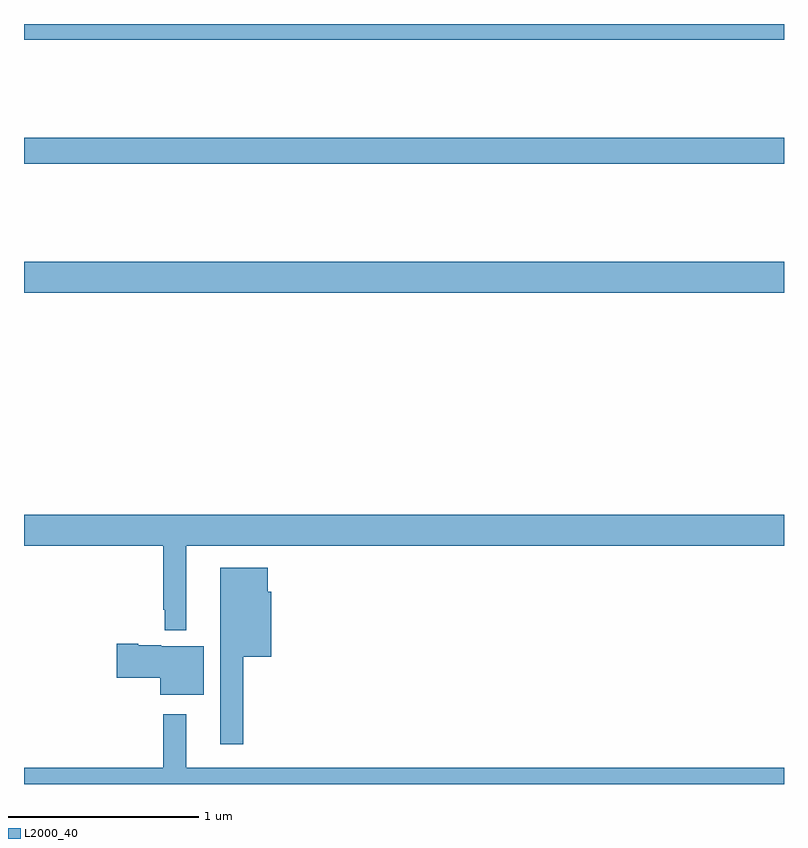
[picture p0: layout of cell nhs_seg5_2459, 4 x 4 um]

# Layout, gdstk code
import gdstk
lib = gdstk.Library(unit=1e-6, precision=1e-09)
def R(c, l, rs):  # rectangles x0, y0, x1, y1
    for r in rs: c.add(gdstk.rectangle(r[:2], r[2:], *l))
def P(c, l, *ps):  # polygons
    for p in ps: c.add(gdstk.Polygon(p, *l))
L2000_40 = (2000, 40)

nhs_seg5_2459 = lib.new_cell('nhs_seg5_2459')
R(nhs_seg5_2459, L2000_40, [(253,899.384,257,899.548), (253,900.064,257,900.2), (253,900.716,257,900.799)])
P(nhs_seg5_2459, L2000_40, [(253.855,898.052),(257,898.052),(257,898.216),(253,898.216),(253,898.052),(253.734,898.052),(253.734,897.715),(253.741,897.715),(253.741,897.608),(253.855,897.608)],
  [(254.155,897.47),(254.302,897.47),(254.302,897.81),(254.284,897.81),(254.284,897.937),(254.033,897.937),(254.033,897.009),(254.155,897.009)],
  [(253.945,897.523),(253.722,897.523),(253.722,897.529),(253.6,897.529),(253.6,897.536),(253.488,897.536),(253.488,897.358),(253.718,897.358),(253.718,897.269),(253.945,897.269)],
  [(257,896.884),(253.855,896.884),(253.855,897.166),(253.734,897.166),(253.734,896.884),(253,896.884),(253,896.799),(257,896.799)])

lib.write_gds('nhs_seg5_2459.gds')
